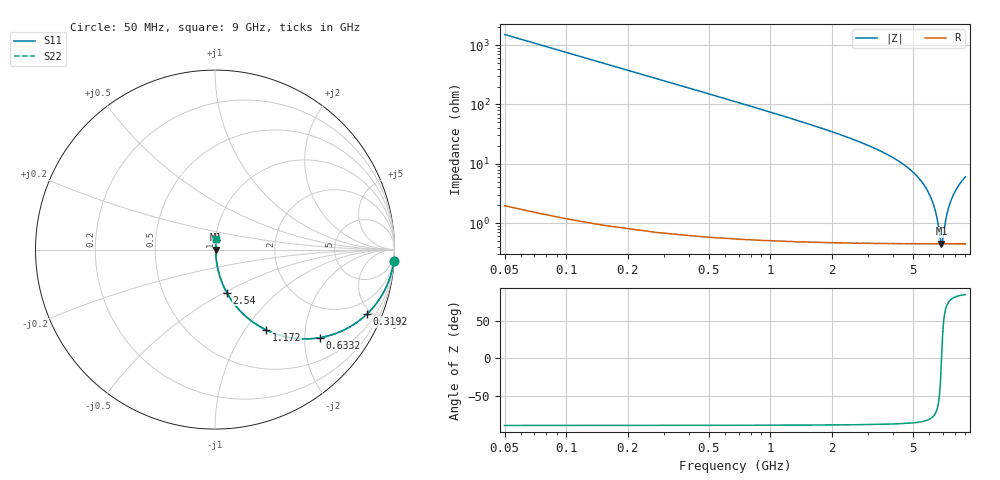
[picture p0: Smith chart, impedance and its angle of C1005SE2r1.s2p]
!	AVX	Thin	Film	Operation
!	Date:	March 2012
!	Description: Ultra-Miniature 01005 Size ACCU - P® Thin Film RF / Microwave Capacitor
!	Part Number:  C005YK2R1ABSTR
!	Serial	Measurements
#	MHz	S	db	R	50
!	S11	S21	S12	S22
!	dB	Phase	dB	Phase	dB	Phase	dB	Phase
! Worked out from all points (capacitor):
!   400 points, 50 MHz to 9 GHz, reference 50 ohm
!   read as one part in series: C = 2.1 pF near 94.86 MHz
!   lowest |Z| = 449 mohm at 6.869 GHz (marker M1)
!   series resonance near 6.878 GHz, so ESL is about 250 pH
!   S11 on the Smith chart (normalised r, x): 50 MHz: 1, -30; 319.2 MHz: 1.01, -4.74; 633.2 MHz: 1.01, -2.37; 1.172 GHz: 1.01, -1.26; 2.54 GHz: 1.01, -0.52; 9 GHz: 1.01, +0.12
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50  -0.02 -3.8  -23.63 86.2  -23.63 86.2  -0.02 -3.8
94.862  -0.07 -7.1  -18.12 82.8  -18.12 82.8  -0.07 -7.1
139.724  -0.15 -10.4  -14.83 79.5  -14.83 79.5  -0.15 -10.4
207.018  -0.32 -15.3  -11.58 74.6  -11.58 74.6  -0.32 -15.3
319.173  -0.72 -22.9  -8.21 67.0  -8.21 67.0  -0.72 -22.9
453.759  -1.35 -31.0  -5.77 58.8  -5.77 58.8  -1.35 -31.0
633.208  -2.35 -40.0  -3.84 49.7  -3.84 49.7  -2.35 -40.0
879.95  -3.82 -49.5  -2.38 40.1  -2.38 40.1  -3.82 -49.5
1171.554  -5.51 -57.5  -1.48 32.0  -1.48 32.0  -5.51 -57.5
1552.882  -7.56 -64.7  -0.88 24.7  -0.88 24.7  -7.56 -64.7
2539.85  -12.09 -74.6  -0.32 14.4  -0.32 14.4  -12.09 -74.6
3055.764  -14.22 -77.5  -0.21 11.2  -0.21 11.2  -14.22 -77.5
4536.216  -20.57 -81.9  -0.08 5.4  -0.08 5.4  -20.57 -81.9
5411.028  -25.48 -82.2  -0.05 3.0  -0.05 3.0  -25.48 -82.2
6016.667  -30.53 -79.7  -0.04 1.7  -0.04 1.7  -30.53 -79.7
6465.288  -36.90 -71.1  -0.04 0.8  -0.04 0.8  -36.90 -71.1
6869.048  -47.02 -3.5  -0.04 0.0  -0.04 0.0  -47.02 -3.5
6936.341  -46.33 22.6  -0.04 -0.1  -0.04 -0.1  -46.33 22.6
7250.376  -38.12 68.3  -0.04 -0.7  -0.04 -0.7  -38.12 68.3
7519.549  -33.94 76.1  -0.04 -1.1  -0.04 -1.1  -33.94 76.1
8125.188  -28.64 81.0  -0.04 -2.1  -0.04 -2.1  -28.64 81.0
9000  -24.47 82.3  -0.05 -3.4  -0.05 -3.4  -24.47 82.3
